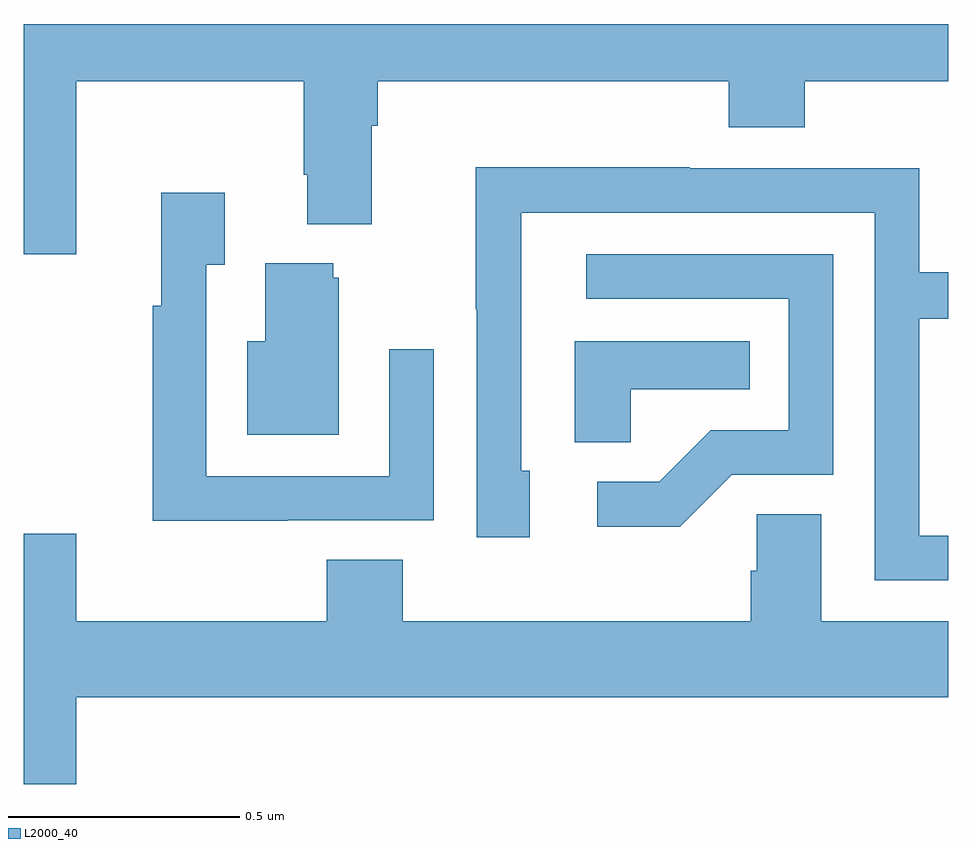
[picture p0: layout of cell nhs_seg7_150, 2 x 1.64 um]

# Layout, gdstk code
import gdstk
lib = gdstk.Library(unit=1e-6, precision=1e-09)
def P(c, l, *ps):  # polygons
    for p in ps: c.add(gdstk.Polygon(p, *l))
L2000_40 = (2000, 40)

nhs_seg7_150 = lib.new_cell('nhs_seg7_150')
P(nhs_seg7_150, L2000_40, [(112.114,1073.876),(112.606,1073.876),(112.606,1073.674),(112.613,1073.674),(112.613,1073.567),(112.753,1073.567),(112.753,1073.78),(112.766,1073.78),(112.766,1073.876),(113.525,1073.876),(113.525,1073.777),(113.69,1073.777),(113.69,1073.876),(114,1073.876),(114,1074),(112,1074),(112,1073.502),(112.114,1073.502)],
  [(114,1072.893),(113.937,1072.893),(113.937,1073.362),(114,1073.362),(114,1073.463),(113.937,1073.463),(113.937,1073.688),(113.441,1073.688),(113.441,1073.69),(112.978,1073.69),(112.978,1073.383),(112.98,1073.383),(112.98,1072.89),(113.095,1072.89),(113.095,1073.034),(113.076,1073.034),(113.076,1073.592),(113.841,1073.592),(113.841,1072.797),(114,1072.797)],
  [(112.571,1072.926),(112.887,1072.926),(112.887,1073.296),(112.791,1073.296),(112.791,1073.022),(112.395,1073.022),(112.395,1073.479),(112.435,1073.479),(112.435,1073.635),(112.298,1073.635),(112.298,1073.39),(112.279,1073.39),(112.279,1072.925),(112.571,1072.925)],
  [(113.532,1073.025),(113.751,1073.025),(113.751,1073.502),(113.217,1073.502),(113.217,1073.406),(113.655,1073.406),(113.655,1073.121),(113.486,1073.121),(113.375,1073.01),(113.241,1073.01),(113.241,1072.913),(113.419,1072.913)],
  [(112.681,1073.451),(112.67,1073.451),(112.67,1073.482),(112.523,1073.482),(112.523,1073.314),(112.484,1073.314),(112.484,1073.111),(112.681,1073.111)],
  [(113.313,1073.21),(113.57,1073.21),(113.57,1073.314),(113.192,1073.314),(113.192,1073.095),(113.313,1073.095)],
  [(112.114,1072.544),(114,1072.544),(114,1072.708),(113.725,1072.708),(113.725,1072.94),(113.586,1072.94),(113.586,1072.817),(113.573,1072.817),(113.573,1072.708),(112.82,1072.708),(112.82,1072.841),(112.655,1072.841),(112.655,1072.708),(112.114,1072.708),(112.114,1072.897),(112,1072.897),(112,1072.356),(112.114,1072.356)])

lib.write_gds('nhs_seg7_150.gds')
